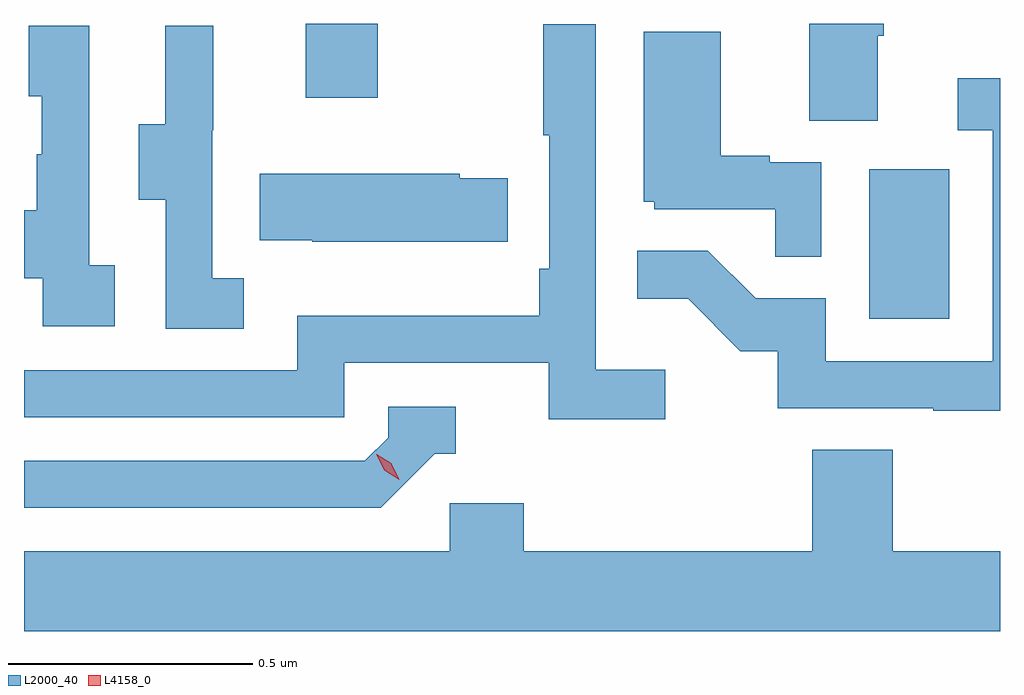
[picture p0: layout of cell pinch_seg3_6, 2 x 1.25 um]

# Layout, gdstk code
import gdstk
lib = gdstk.Library(unit=1e-6, precision=1e-09)
def R(c, l, rs):  # rectangles x0, y0, x1, y1
    for r in rs: c.add(gdstk.rectangle(r[:2], r[2:], *l))
def P(c, l, *ps):  # polygons
    for p in ps: c.add(gdstk.Polygon(p, *l))
L2000_40 = (2000, 40)
L4158_0 = (4158, 0)

pinch_seg3_6 = lib.new_cell('pinch_seg3_6')
R(pinch_seg3_6, L2000_40, [(1116.632,741.516,1116.796,741.823), (1115.477,741.969,1115.625,742.121)])
P(pinch_seg3_6, L2000_40, [(1116.649,742.096),(1116.662,742.096),(1116.662,742.121),(1116.509,742.121),(1116.509,741.922),(1116.649,741.922)],
  [(1116.214,741.412),(1116.072,741.412),(1116.072,742.12),(1115.964,742.12),(1115.964,741.892),(1115.976,741.892),(1115.976,741.619),(1115.956,741.619),(1115.956,741.523),(1115.46,741.523),(1115.46,741.411),(1114.9,741.411),(1114.9,741.315),(1115.556,741.315),(1115.556,741.426),(1115.975,741.426),(1115.975,741.31),(1116.214,741.31)],
  [(1115.086,741.626),(1115.034,741.626),(1115.034,742.117),(1114.91,742.117),(1114.91,741.972),(1114.936,741.972),(1114.936,741.854),(1114.926,741.854),(1114.926,741.739),(1114.9,741.739),(1114.9,741.599),(1114.938,741.599),(1114.938,741.501),(1115.086,741.501)],
  [(1115.35,741.599),(1115.286,741.599),(1115.286,741.903),(1115.288,741.903),(1115.288,742.117),(1115.189,742.117),(1115.189,741.915),(1115.135,741.915),(1115.135,741.76),(1115.19,741.76),(1115.19,741.496),(1115.35,741.496)],
  [(1116.534,741.837),(1116.428,741.837),(1116.428,741.85),(1116.328,741.85),(1116.328,742.105),(1116.17,742.105),(1116.17,741.756),(1116.192,741.756),(1116.192,741.741),(1116.439,741.741),(1116.439,741.643),(1116.534,741.643)],
  [(1116.9,742.009),(1116.813,742.009),(1116.813,741.903),(1116.885,741.903),(1116.885,741.429),(1116.543,741.429),(1116.543,741.558),(1116.399,741.558),(1116.301,741.656),(1116.157,741.656),(1116.157,741.557),(1116.261,741.557),(1116.368,741.45),(1116.445,741.45),(1116.445,741.333),(1116.763,741.333),(1116.763,741.328),(1116.9,741.328)],
  [(1115.891,741.804),(1115.793,741.804),(1115.793,741.814),(1115.383,741.814),(1115.383,741.677),(1115.491,741.677),(1115.491,741.674),(1115.891,741.674)],
  [(1115.742,741.24),(1115.785,741.24),(1115.785,741.336),(1115.646,741.336),(1115.646,741.273),(1115.598,741.225),(1114.9,741.225),(1114.9,741.129),(1115.631,741.129)],
  [(1116.9,741.04),(1116.68,741.04),(1116.68,741.248),(1116.515,741.248),(1116.515,741.04),(1115.924,741.04),(1115.924,741.138),(1115.772,741.138),(1115.772,741.04),(1114.9,741.04),(1114.9,740.876),(1116.9,740.876)])
P(pinch_seg3_6, L4158_0, [(1115.669,741.187),(1115.638,741.206),(1115.622,741.239),(1115.622,741.239),(1115.623,741.239),(1115.653,741.22),(1115.669,741.187),(1115.669,741.187)])

lib.write_gds('pinch_seg3_6.gds')
